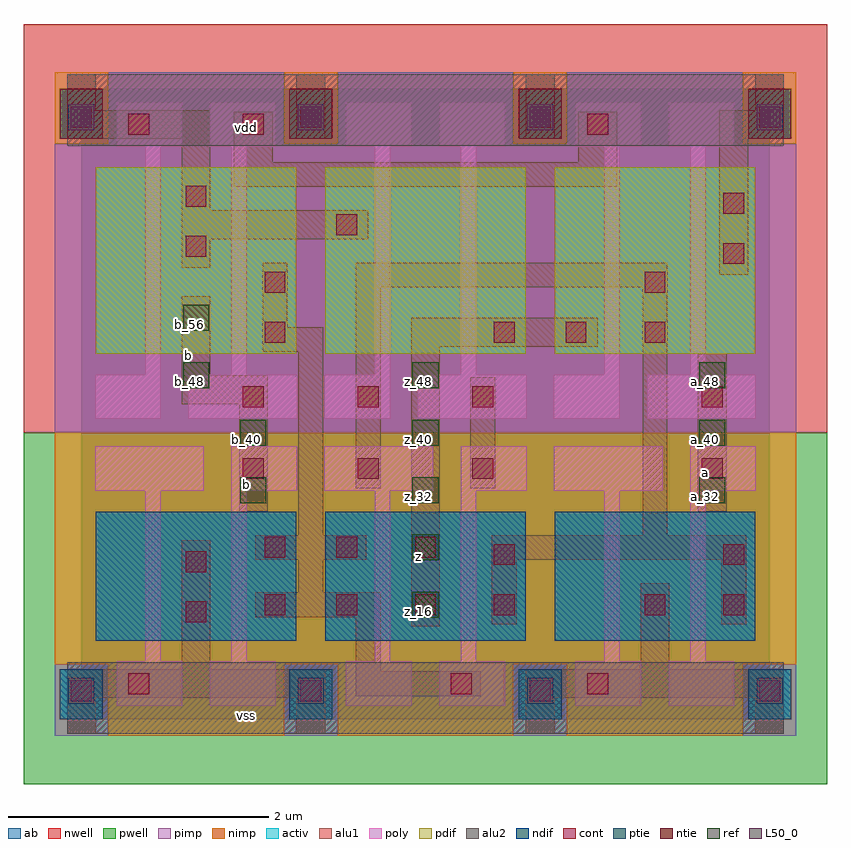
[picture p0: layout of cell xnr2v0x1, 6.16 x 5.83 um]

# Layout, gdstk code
import gdstk
lib = gdstk.Library(unit=1e-6, precision=2.5e-09)
def R(c, l, rs):  # rectangles x0, y0, x1, y1
    for r in rs: c.add(gdstk.rectangle(r[:2], r[2:], *l))
def A(c, l, x, y, w, h, nx, ny, dx, dy):  # array of equal rectangles
    R(c, l, [(x+i*dx, y+j*dy, x+i*dx+w, y+j*dy+h) for i in range(nx) for j in range(ny)])
ndif = (3, 0)
pdif = (4, 0)
ntie = (5, 0)
ptie = (6, 0)
ref = (24, 0)
cont = (25, 0)
pwell = (41, 0)
nwell = (42, 0)
activ = (43, 0)
pimp = (44, 0)
nimp = (45, 0)
poly = (46, 0)
alu1 = (49, 0)
L50_0 = (50, 0)
alu2 = (51, 0)
ab = (63, 0)

xnr2v0x1 = lib.new_cell('xnr2v0x1')
A(xnr2v0x1, ndif, 0.11, 0.605, 1.54, 0.99, 3, 1, 1.76, 0)
A(xnr2v0x1, pdif, 0.11, 2.805, 1.54, 1.43, 3, 1, 1.76, 0)
A(xnr2v0x1, ntie, -0.165, 4.455, 0.33, 0.385, 4, 1, 1.76, 0)
A(xnr2v0x1, ptie, -0.165, 0, 0.33, 0.385, 4, 1, 1.76, 0)
A(xnr2v0x1, ref, 2.54, 0.78, 0.2, 0.2, 1, 5, 0, 0.44)
A(xnr2v0x1, ref, 4.74, 1.66, 0.2, 0.2, 1, 3, 0, 0.44)
R(xnr2v0x1, ref, [(1.22,1.66,1.42,1.86), (1.22,2.1,1.42,2.3), (0.78,2.54,0.98,2.74), (0.78,2.98,0.98,3.18)])
A(xnr2v0x1, cont, -0.08, 0.14, 0.16, 0.16, 4, 2, 1.76, 4.4)
A(xnr2v0x1, cont, 1.955, 0.8, 0.16, 0.16, 3, 1, 0.605, 0)
A(xnr2v0x1, cont, 1.24, 1.845, 0.16, 0.16, 3, 2, 0.88, 0.55)
R(xnr2v0x1, cont, [(0.36,0.195,0.52,0.355), (2.835,0.195,2.995,0.355), (3.88,0.195,4.04,0.355), (0.8,0.745,0.96,0.905), (1.405,0.8,1.565,0.96), (4.32,0.8,4.48,0.96), (4.925,0.8,5.085,0.96), (0.8,1.13,0.96,1.29), (3.165,1.185,3.325,1.345), (4.925,1.185,5.085,1.345), (1.405,1.24,1.565,1.4), (1.955,1.24,2.115,1.4), (2.56,1.24,2.72,1.4), (4.76,1.845,4.92,2.005), (4.76,2.395,4.92,2.555), (1.405,2.89,1.565,3.05), (3.165,2.89,3.325,3.05), (3.715,2.89,3.875,3.05), (4.32,2.89,4.48,3.05), (1.405,3.275,1.565,3.435), (4.32,3.275,4.48,3.435), (4.925,3.495,5.085,3.655), (0.8,3.55,0.96,3.71), (1.955,3.715,2.115,3.875), (4.925,3.88,5.085,4.04), (0.8,3.935,0.96,4.095), (0.36,4.485,0.52,4.645), (1.24,4.485,1.4,4.645), (3.88,4.485,4.04,4.645)])
R(xnr2v0x1, pwell, [(-0.44,-0.495,5.72,2.2)])
R(xnr2v0x1, nwell, [(-0.44,2.2,5.72,5.335)])
A(xnr2v0x1, activ, -0.165, 0, 0.33, 0.385, 4, 2, 1.76, 4.455)
A(xnr2v0x1, activ, 0.11, 0.605, 1.54, 0.99, 3, 1, 1.76, 0)
A(xnr2v0x1, activ, 0.11, 2.805, 1.54, 1.43, 3, 1, 1.76, 0)
A(xnr2v0x1, pimp, -0.205, -0.125, 0.41, 0.55, 4, 1, 1.76, 0)
A(xnr2v0x1, pimp, 0.205, 4.415, 1.35, 0.55, 3, 1, 1.76, 0)
R(xnr2v0x1, pimp, [(-0.205,2.2,5.485,4.415)])
A(xnr2v0x1, nimp, 0.205, -0.125, 1.35, 0.55, 3, 1, 1.76, 0)
A(xnr2v0x1, nimp, -0.205, 4.415, 0.41, 0.55, 4, 1, 1.76, 0)
R(xnr2v0x1, nimp, [(-0.205,0.425,5.485,2.2)])
A(xnr2v0x1, poly, 0.105, 1.755, 0.835, 0.34, 3, 1, 1.76, 0)
A(xnr2v0x1, poly, 1.15, 1.755, 0.505, 0.34, 3, 1, 1.76, 0)
A(xnr2v0x1, poly, 0.105, 2.305, 0.505, 0.34, 3, 1, 1.76, 0)
A(xnr2v0x1, poly, 0.82, 2.305, 0.835, 0.34, 3, 1, 1.76, 0)
R(xnr2v0x1, poly, [(0.27,0.105,0.775,0.445), (0.985,0.105,1.49,0.445), (2.03,0.105,2.535,0.445), (2.745,0.105,3.25,0.445), (3.79,0.105,4.295,0.445), (4.505,0.105,5.01,0.445), (0.49,0.445,0.61,1.755), (1.15,0.445,1.27,1.755), (2.25,0.445,2.37,1.755), (2.91,0.445,3.03,1.755), (4.01,0.445,4.13,1.755), (4.67,0.445,4.79,1.755), (0.49,2.645,0.61,4.395), (1.15,2.645,1.27,4.395), (2.25,2.645,2.37,4.395), (2.91,2.645,3.03,4.395), (4.01,2.645,4.13,4.395), (4.67,2.645,4.79,4.395), (0.27,4.395,0.775,4.735), (0.985,4.395,1.49,4.735), (2.03,4.395,2.535,4.735), (2.745,4.395,3.25,4.735), (3.79,4.395,4.295,4.735), (4.505,4.395,5.01,4.735)])
A(xnr2v0x1, alu1, -0.11, -0.11, 0.22, 0.275, 4, 1, 1.76, 0)
R(xnr2v0x1, alu1, [(-0.11,0.165,1.87,0.385), (3.41,0.165,5.39,0.385), (2.105,0.18,3.065,0.37), (2.105,0.37,2.295,0.785), (0.77,0.385,0.99,1.375), (4.29,0.385,4.51,1.045), (2.53,0.715,2.75,2.86), (3.15,0.73,3.34,1.225), (4.91,0.73,5.1,1.225), (1.335,0.785,2.295,0.975), (1.665,0.975,1.855,1.225), (1.335,1.225,2.185,1.415), (3.15,1.225,5.1,1.415), (1.665,1.415,1.855,2.82), (4.305,1.415,4.495,3.315), (1.21,1.595,1.43,2.42), (4.73,1.595,4.95,2.805), (2.105,1.775,2.295,3.315), (2.985,1.775,3.175,2.625), (0.77,2.42,1.43,2.64), (0.77,2.64,0.99,3.245), (1.39,2.82,1.855,3.01), (2.53,2.86,3.96,3.08), (1.39,3.01,1.58,3.505), (2.105,3.315,4.495,3.505), (4.895,3.41,5.115,4.455), (0.77,3.465,0.99,3.685), (0.77,3.685,2.2,3.905), (0.77,3.905,0.99,4.455), (1.17,4.085,4.11,4.275), (1.17,4.275,1.47,4.66), (3.81,4.275,4.11,4.66), (-0.11,4.455,0.99,4.675), (1.65,4.455,1.87,4.95), (3.41,4.455,3.63,4.95), (4.895,4.455,5.39,4.675), (-0.11,4.675,0.11,4.95), (5.17,4.675,5.39,4.95)])
A(xnr2v0x1, L50_0, -0.1, 0.12, 0.2, 0.2, 4, 2, 1.76, 4.4)
R(xnr2v0x1, alu2, [(-0.11,-0.11,5.39,0.44), (-0.11,4.4,5.39,4.95)])
R(xnr2v0x1, ab, [(0,0,5.28,4.84)])
xnr2v0x1.add(gdstk.Label('a', (4.785,1.8975), layer=49, texttype=0))
xnr2v0x1.add(gdstk.Label('z', (2.585,1.25), layer=49, texttype=0))
xnr2v0x1.add(gdstk.Label('b', (1.265,1.8), layer=49, texttype=0))
xnr2v0x1.add(gdstk.Label('b', (0.825,2.79), layer=49, texttype=0))
xnr2v0x1.add(gdstk.Label('vss', (1.265,0.0275), layer=51, texttype=0))
xnr2v0x1.add(gdstk.Label('vdd', (1.265,4.5375), layer=51, texttype=0))
xnr2v0x1.add(gdstk.Label('b_56', (0.83,3.03), layer=24, texttype=0))
xnr2v0x1.add(gdstk.Label('b_48', (0.83,2.59), layer=24, texttype=0))
xnr2v0x1.add(gdstk.Label('a_48', (4.79,2.59), layer=24, texttype=0))
xnr2v0x1.add(gdstk.Label('a_40', (4.79,2.15), layer=24, texttype=0))
xnr2v0x1.add(gdstk.Label('a_32', (4.79,1.71), layer=24, texttype=0))
xnr2v0x1.add(gdstk.Label('z_48', (2.59,2.59), layer=24, texttype=0))
xnr2v0x1.add(gdstk.Label('z_40', (2.59,2.15), layer=24, texttype=0))
xnr2v0x1.add(gdstk.Label('z_32', (2.59,1.71), layer=24, texttype=0))
xnr2v0x1.add(gdstk.Label('z_24', (2.59,1.27), layer=24, texttype=0))
xnr2v0x1.add(gdstk.Label('z_16', (2.59,0.83), layer=24, texttype=0))
xnr2v0x1.add(gdstk.Label('b_40', (1.27,2.15), layer=24, texttype=0))
xnr2v0x1.add(gdstk.Label('b_32', (1.27,1.71), layer=24, texttype=0))

lib.write_gds('xnr2v0x1.gds')
